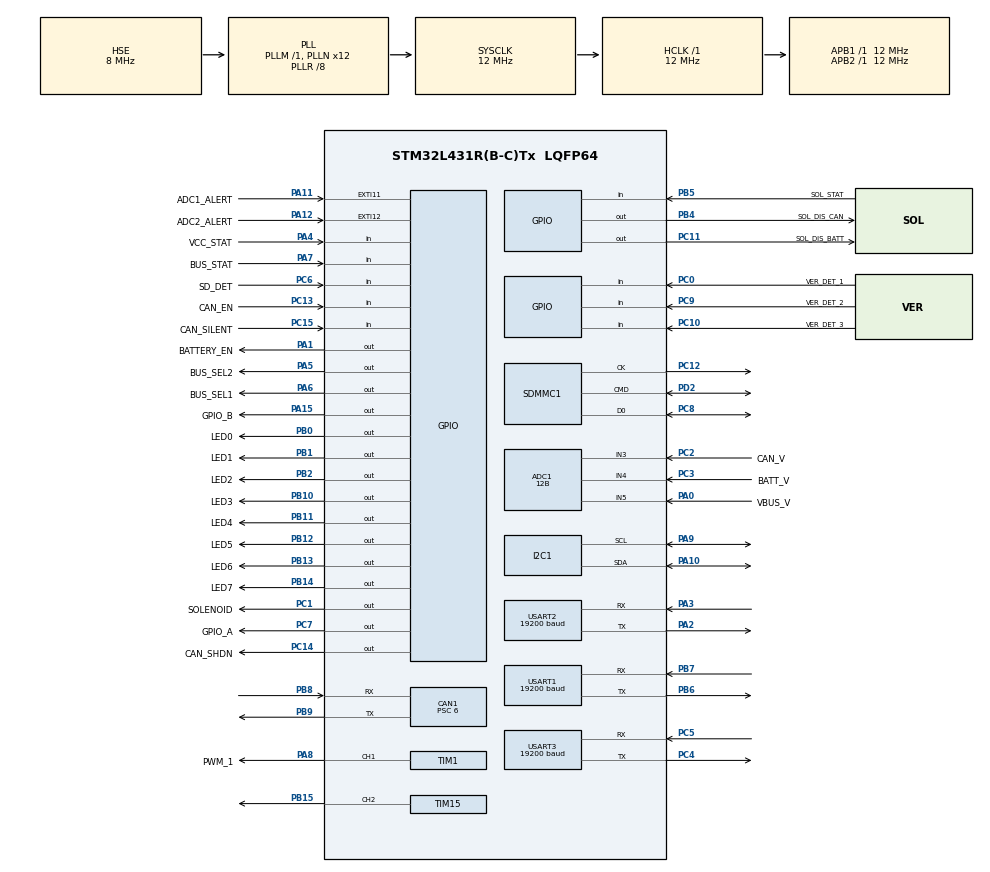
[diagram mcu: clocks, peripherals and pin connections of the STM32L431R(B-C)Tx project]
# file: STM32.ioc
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ADC1.Channel-0\#ChannelRegularConversion=ADC_CHANNEL_VREFINT
ADC1.NbrOfConversion=1
ADC1.NbrOfConversionFlag=1
ADC1.OffsetNumber-0\#ChannelRegularConversion=ADC_OFFSET_NONE
ADC1.Rank-0\#ChannelRegularConversion=1
ADC1.Resolution=ADC_RESOLUTION_12B
ADC1.SamplingTime-0\#ChannelRegularConversion=ADC_SAMPLETIME_2CYCLES_5
ADC1.master=1
CAN1.ABOM=ENABLE
CAN1.AWUM=ENABLE
CAN1.BS1=CAN_BS1_13TQ
CAN1.BS2=CAN_BS2_2TQ
CAN1.CalculateBaudRate=125000
CAN1.CalculateTimeBit=8000
CAN1.CalculateTimeQuantum=500.0
CAN1.NART=ENABLE
CAN1.Prescaler=6
CAN1.SJW=CAN_SJW_4TQ
Dma.Request0=SDMMC1
Dma.SDMMC1.0.Direction=DMA_PERIPH_TO_MEMORY
Dma.SDMMC1.0.Instance=DMA2_Channel4
Dma.SDMMC1.0.MemDataAlignment=DMA_MDATAALIGN_WORD
Dma.SDMMC1.0.MemInc=DMA_MINC_ENABLE
Dma.SDMMC1.0.Mode=DMA_NORMAL
Dma.SDMMC1.0.PeriphDataAlignment=DMA_PDATAALIGN_WORD
Dma.SDMMC1.0.PeriphInc=DMA_PINC_DISABLE
Dma.SDMMC1.0.Priority=DMA_PRIORITY_VERY_HIGH
FATFS.BSP.number=1
FATFS0.BSP.STBoard=false
FATFS0.BSP.api=Unknown
FATFS0.BSP.instance=PC6
FATFS0.BSP.ip=GPIO
FATFS0.BSP.mode=Input
FATFS0.BSP.name=Detect_SDIO
FATFS0.BSP.solution=PC6
FREERTOS.HEAP_NUMBER=5
FREERTOS.INCLUDE_pcTaskGetTaskName=1
FREERTOS.INCLUDE_vTaskCleanUpResources=1
FREERTOS.Tasks01=watchdogTask,8,128,WatchdogTask,Default,NULL,Static,watchdogTaskBuffer,watchdogTaskControlBlock;sDInitTask,48,256,SDInitTask,Default,NULL,Static,SDInitTaskBuffer,SDInitTaskControlBlock
FREERTOS.configCHECK_FOR_STACK_OVERFLOW=2
FREERTOS.configENABLE_BACKWARD_COMPATIBILITY=0
FREERTOS.configENABLE_FPU=1
FREERTOS.configGENERATE_RUN_TIME_STATS=1
FREERTOS.configRECORD_STACK_HIGH_ADDRESS=1
FREERTOS.configTICK_RATE_HZ=100
FREERTOS.configTOTAL_HEAP_SIZE=1024
FREERTOS.configUSE_IDLE_HOOK=1
FREERTOS.configUSE_MALLOC_FAILED_HOOK=1
FREERTOS.configUSE_NEWLIB_REENTRANT=1
FREERTOS.configUSE_PREEMPTION=0
FREERTOS.configUSE_STATS_FORMATTING_FUNCTIONS=1
FREERTOS.configUSE_TICKLESS_IDLE=1
FREERTOS.configUSE_TRACE_FACILITY=1
I2C1.SMBusGeneralCallMode=SMBUS_GENERALCALL_ENABLE
I2C1.SMBusPacketErrorCheckMode=SMBUS_PEC_ENABLE
I2C1.Timeout=0x000080C3
I2C1.Timing=0x00402D41
IWDG.Prescaler=IWDG_PRESCALER_32
Mcu.Family=STM32L4
Mcu.Name=STM32L431R(B-C)Tx
Mcu.Package=LQFP64
NVIC.CAN1_RX0_IRQn=true\:5\:0\:true\:true\:true\:4\:true\:true\:true\:true
NVIC.CAN1_RX1_IRQn=true\:5\:0\:true\:true\:true\:5\:true\:true\:true\:true
NVIC.DMA2_Channel4_IRQn=true\:5\:0\:false\:false\:true\:true\:false\:true\:true
NVIC.EXTI15_10_IRQn=true\:5\:0\:false\:true\:true\:3\:true\:true\:true\:true
NVIC.I2C1_ER_IRQn=true\:5\:0\:false\:false\:true\:true\:true\:true\:true
NVIC.I2C1_EV_IRQn=true\:5\:0\:false\:true\:true\:2\:true\:true\:true\:true
NVIC.PVD_PVM_IRQn=true\:5\:0\:false\:false\:true\:true\:true\:true\:true
NVIC.PriorityGroup=NVIC_PRIORITYGROUP_4
NVIC.SDMMC1_IRQn=true\:5\:0\:false\:true\:true\:1\:true\:true\:true\:true
NVIC.TIM6_DAC_IRQn=true\:15\:0\:false\:false\:true\:false\:false\:true\:true
NVIC.TIM7_IRQn=true\:5\:0\:true\:false\:true\:true\:true\:true\:true
NVIC.TimeBase=TIM6_DAC_IRQn
NVIC.TimeBaseIP=TIM6
NVIC.USART1_IRQn=true\:5\:0\:false\:true\:true\:8\:true\:true\:true\:true
NVIC.USART2_IRQn=true\:5\:0\:true\:true\:true\:6\:true\:true\:true\:true
NVIC.USART3_IRQn=true\:5\:0\:true\:true\:true\:7\:true\:true\:true\:true
PA0.GPIO_Label=VBUS_V
PA0.Signal=ADCx_IN5
PA1.GPIO_Label=BATTERY_EN
PA1.Signal=GPIO_Output
PA10.Mode=I2C
PA10.Signal=I2C1_SDA
PA11.GPIO_Label=ADC1_ALERT
PA11.GPIO_ModeDefaultEXTI=GPIO_MODE_IT_FALLING
PA11.GPIO_PuPd=GPIO_PULLUP
PA11.Signal=GPXTI11
PA12.GPIO_Label=ADC2_ALERT
PA12.GPIO_ModeDefaultEXTI=GPIO_MODE_IT_FALLING
PA12.GPIO_PuPd=GPIO_PULLUP
PA12.Signal=GPXTI12
PA13\ (JTMS-SWDIO).Mode=Trace_Asynchronous_SW
PA13\ (JTMS-SWDIO).Signal=SYS_JTMS-SWDIO
PA14\ (JTCK-SWCLK).Mode=Trace_Asynchronous_SW
PA14\ (JTCK-SWCLK).Signal=SYS_JTCK-SWCLK
PA15\ (JTDI).GPIO_Label=GPIO_B
PA15\ (JTDI).Signal=GPIO_Output
PA2.Mode=Asynchronous
PA2.Signal=USART2_TX
PA3.Mode=Asynchronous
PA3.Signal=USART2_RX
PA4.GPIO_Label=VCC_STAT
PA4.GPIO_PuPd=GPIO_PULLUP
PA4.Signal=GPIO_Input
PA5.GPIO_Label=BUS_SEL2
PA5.Signal=GPIO_Output
PA6.GPIO_Label=BUS_SEL1
PA6.Signal=GPIO_Output
PA7.GPIO_Label=BUS_STAT
PA7.GPIO_PuPd=GPIO_PULLUP
PA7.Signal=GPIO_Input
PA8.GPIO_Label=PWM_1
PA8.Signal=S_TIM1_CH1
PA9.Mode=I2C
PA9.Signal=I2C1_SCL
PB0.GPIO_Label=LED0
PB0.PinState=GPIO_PIN_RESET
PB0.Signal=GPIO_Output
PB1.GPIO_Label=LED1
PB1.PinState=GPIO_PIN_RESET
PB1.Signal=GPIO_Output
PB10.GPIO_Label=LED3
PB10.PinState=GPIO_PIN_RESET
PB10.Signal=GPIO_Output
PB11.GPIO_Label=LED4
PB11.PinState=GPIO_PIN_RESET
PB11.Signal=GPIO_Output
PB12.GPIO_Label=LED5
PB12.PinState=GPIO_PIN_RESET
PB12.Signal=GPIO_Output
PB13.GPIO_Label=LED6
PB13.PinState=GPIO_PIN_RESET
PB13.Signal=GPIO_Output
PB14.GPIO_Label=LED7
PB14.PinState=GPIO_PIN_RESET
PB14.Signal=GPIO_Output
PB15.Signal=S_TIM15_CH2
PB2.GPIO_Label=LED2
PB2.PinState=GPIO_PIN_RESET
PB2.Signal=GPIO_Output
PB3\ (JTDO-TRACESWO).Mode=Trace_Asynchronous_SW
PB3\ (JTDO-TRACESWO).Signal=SYS_JTDO-SWO
PB4\ (NJTRST).GPIO_Label=SOL_DIS_CAN
PB4\ (NJTRST).Signal=GPIO_Output
PB5.GPIO_Label=SOL_STAT
PB5.GPIO_PuPd=GPIO_PULLUP
PB5.Signal=GPIO_Input
PB6.Mode=Asynchronous
PB6.Signal=USART1_TX
PB7.Mode=Asynchronous
PB7.Signal=USART1_RX
PB8.Mode=CAN_Activate
PB8.Signal=CAN1_RX
PB9.Mode=CAN_Activate
PB9.Signal=CAN1_TX
PC0.GPIO_Label=VER_DET_1
PC0.Signal=GPIO_Input
PC1.GPIO_Label=SOLENOID
PC1.Signal=GPIO_Output
PC10.GPIO_Label=VER_DET_3
PC10.Signal=GPIO_Input
PC11.GPIO_Label=SOL_DIS_BATT
PC11.Signal=GPIO_Output
PC12.GPIO_PuPd=GPIO_NOPULL
PC12.Mode=SD_1_bit
PC12.Signal=SDMMC1_CK
PC13.GPIO_Label=CAN_EN
PC13.GPIO_PuPd=GPIO_NOPULL
PC13.Signal=GPIO_Input
PC14-OSC32_IN\ (PC14).GPIO_Label=CAN_SHDN
PC14-OSC32_IN\ (PC14).Signal=GPIO_Output
PC15-OSC32_OUT\ (PC15).GPIO_Label=CAN_SILENT
PC15-OSC32_OUT\ (PC15).Signal=GPIO_Input
PC2.GPIO_Label=CAN_V
PC2.Signal=ADCx_IN3
PC3.GPIO_Label=BATT_V
PC3.Signal=ADCx_IN4
PC4.Mode=Asynchronous
PC4.Signal=USART3_TX
PC5.Mode=Asynchronous
PC5.Signal=USART3_RX
PC6.GPIO_Label=SD_DET
PC6.GPIO_PuPd=GPIO_PULLDOWN
PC6.Signal=GPIO_Input
PC7.GPIO_Label=GPIO_A
PC7.Signal=GPIO_Output
PC8.GPIO_PuPd=GPIO_PULLUP
PC8.Mode=SD_1_bit
PC8.Signal=SDMMC1_D0
PC9.GPIO_Label=VER_DET_2
PC9.Signal=GPIO_Input
PD2.GPIO_PuPd=GPIO_PULLUP
PD2.Mode=SD_1_bit
PD2.Signal=SDMMC1_CMD
PH0-OSC_IN\ (PH0).Mode=HSE-External-Oscillator
PH0-OSC_IN\ (PH0).Signal=RCC_OSC_IN
PH1-OSC_OUT\ (PH1).Mode=HSE-External-Oscillator
PH1-OSC_OUT\ (PH1).Signal=RCC_OSC_OUT
ProjectManager.HeapSize=0x400
ProjectManager.StackSize=0x800
ProjectManager.TargetToolchain=Makefile
RCC.ADCCLockSelection=RCC_ADCCLKSOURCE_SYSCLK
RCC.ADCFreq_Value=12000000
RCC.AHBFreq_Value=12000000
RCC.APB1Freq_Value=12000000
RCC.APB1TimFreq_Value=12000000
RCC.APB2Freq_Value=12000000
RCC.APB2TimFreq_Value=12000000
RCC.CK48CLockSelection=RCC_USBCLKSOURCE_PLL
RCC.CortexFreq_Value=12000000
RCC.EnbaleCSS=true
RCC.HCLKFreq_Value=12000000
RCC.HSE_VALUE=8000000
RCC.HSI48_VALUE=48000000
RCC.HSI_VALUE=16000000
RCC.LSE_VALUE=32768
RCC.MSIClockRange=RCC_MSIRANGE_7
RCC.MSI_VALUE=8000000
RCC.PLLN=12
RCC.PLLQ=RCC_PLLQ_DIV4
RCC.PLLR=RCC_PLLR_DIV8
RCC.PLLSAI1Q=RCC_PLLQ_DIV4
RCC.PLLSourceVirtual=RCC_PLLSOURCE_HSE
RCC.SYSCLKFreq_VALUE=12000000
RCC.SYSCLKSource=RCC_SYSCLKSOURCE_PLLCLK
RCC.VCOOutputFreq_Value=96000000
SDMMC1.ClockBypass=SDMMC_CLOCK_BYPASS_DISABLE
SDMMC1.ClockDiv=0
SDMMC1.ClockEdge=SDMMC_CLOCK_EDGE_RISING
SDMMC1.ClockPowerSave=SDMMC_CLOCK_POWER_SAVE_DISABLE
SDMMC1.HardwareFlowControl=SDMMC_HARDWARE_FLOW_CONTROL_ENABLE
SH.ADCx_IN3.0=ADC1_IN3,IN3-Single-Ended
SH.ADCx_IN4.0=ADC1_IN4,IN4-Single-Ended
SH.ADCx_IN5.0=ADC1_IN5,IN5-Single-Ended
SH.S_TIM15_CH2.0=TIM15_CH2,PWM Generation2 CH2
SH.S_TIM1_CH1.0=TIM1_CH1,PWM Generation1 CH1
SYS.PVDLevel=PWR_PVDLEVEL_5
TIM1.Channel-PWM\ Generation1\ CH1=TIM_CHANNEL_1
TIM1.Period=100-1
TIM1.Prescaler=16-1
TIM15.Channel-PWM\ Generation2\ CH2=TIM_CHANNEL_2
TIM15.Period=100-1
TIM15.Prescaler=16-1
TIM7.Period=1600
USART1.BaudRate=19200
USART1.DMADisableonRxErrorParam=ADVFEATURE_DMA_ENABLEONRXERROR
USART1.Mode=MODE_TX_RX
USART1.OverrunDisableParam=ADVFEATURE_OVERRUN_ENABLE
USART1.SwapParam=ADVFEATURE_SWAP_DISABLE
USART1.VirtualMode-Asynchronous=VM_ASYNC
USART2.BaudRate=19200
USART2.DMADisableonRxErrorParam=ADVFEATURE_DMA_ENABLEONRXERROR
USART2.OverrunDisableParam=ADVFEATURE_OVERRUN_ENABLE
USART2.SwapParam=ADVFEATURE_SWAP_ENABLE
USART2.VirtualMode-Asynchronous=VM_ASYNC
USART3.BaudRate=19200
USART3.SwapParam=ADVFEATURE_SWAP_ENABLE
USART3.VirtualMode-Asynchronous=VM_ASYNC
VP_ADC1_Vbat_Input.Mode=IN-Vbat
VP_ADC1_Vref_Input.Mode=IN-Vrefint
VP_CRC_VS_CRC.Mode=CRC_Activate
VP_FATFS_VS_SDIO.Mode=SDIO
VP_FREERTOS_VS_CMSIS_V2.Mode=CMSIS_V2
VP_IWDG_VS_IWDG.Mode=IWDG_Activate
VP_SYS_VS_LPOM.Mode=PowerOptimisation
VP_SYS_VS_tim6.Mode=TIM6
VP_SYS_V_PVD_IN.Mode=Mode_PVD_Int
VP_TIM15_VS_ClockSourceINT.Mode=Internal
VP_TIM1_VS_ClockSourceINT.Mode=Internal
VP_TIM7_VS_ClockSourceINT.Mode=Enable_Timer
board=custom

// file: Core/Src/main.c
/* USER CODE BEGIN Header */
/**
 ******************************************************************************
 * @file           : main.c
 * @brief          : Main program body
 ******************************************************************************
 * @attention
 *
 * Copyright (c) 2023 STMicroelectronics.
 * All rights reserved.
 *
 * This software is licensed under terms that can be found in the LICENSE file
 * in the root directory of this software component.
 * If no LICENSE file comes with this software, it is provided AS-IS.
 *
 ******************************************************************************
 */
/* USER CODE END Header */
#include "main.h"
#include "cmsis_os.h"
#include "fatfs.h"

/* USER CODE BEGIN Includes */
#include <string.h>
#include "eeprom_emul.h"
#include "Sensors/OxygenCell.h"
#include "Sensors/AnalogOxygen.h"
#include "Hardware/pwr_management.h"
#include "Hardware/solenoid.h"
#include "Hardware/ext_adc.h"
#include "Hardware/printer.h"
#include "Hardware/flash.h"
#include "DiveCAN/DiveCAN.h"
#include "DiveCAN/PPO2Transmitter.h"
#include "Hardware/log.h"
#include "configuration.h"
#include "PPO2Control/PPO2Control.h"
#include "Hardware/hw_version.h"
/* USER CODE END Includes */

typedef StaticTask_t osStaticThreadDef_t;

/* USER CODE BEGIN PD */
const uint8_t IRQ_PRIORITY_DEFAULT = 5;
/* USER CODE END PD */

ADC_HandleTypeDef hadc1;

CAN_HandleTypeDef hcan1;

CRC_HandleTypeDef hcrc;

I2C_HandleTypeDef hi2c1;

IWDG_HandleTypeDef hiwdg;

SD_HandleTypeDef hsd1;
DMA_HandleTypeDef hdma_sdmmc1;

TIM_HandleTypeDef htim1;
TIM_HandleTypeDef htim7;
TIM_HandleTypeDef htim15;

UART_HandleTypeDef huart1;
UART_HandleTypeDef huart2;
UART_HandleTypeDef huart3;

/* Definitions for watchdogTask */
osThreadId_t watchdogTaskHandle;
uint32_t watchdogTaskBuffer[128];
osStaticThreadDef_t watchdogTaskControlBlock;
const osThreadAttr_t watchdogTask_attributes = {
    .name = "watchdogTask",
    .cb_mem = &watchdogTaskControlBlock,
    .cb_size = sizeof(watchdogTaskControlBlock),
    .stack_mem = &watchdogTaskBuffer[0],
    .stack_size = sizeof(watchdogTaskBuffer),
    .priority = (osPriority_t)osPriorityLow,
};
/* Definitions for sDInitTask */
osThreadId_t sDInitTaskHandle;
uint32_t SDInitTaskBuffer[256];
osStaticThreadDef_t SDInitTaskControlBlock;
const osThreadAttr_t sDInitTask_attributes = {
    .name = "sDInitTask",
    .cb_mem = &SDInitTaskControlBlock,
    .cb_size = sizeof(SDInitTaskControlBlock),
    .stack_mem = &SDInitTaskBuffer[0],
    .stack_size = sizeof(SDInitTaskBuffer),
    .priority = (osPriority_t)osPriorityRealtime,
};

void SystemClock_Config(void);
static void MX_GPIO_Init(void);
static void MX_DMA_Init(void);
static void MX_ADC1_Init(void);
static void MX_CAN1_Init(void);
static void MX_I2C1_Init(void);
static void MX_USART1_UART_Init(void);
static void MX_USART2_UART_Init(void);
static void MX_USART3_UART_Init(void);
static void MX_SDMMC1_SD_Init(void);
static void MX_CRC_Init(void);
static void MX_TIM7_Init(void);
static void MX_IWDG_Init(void);
static void MX_TIM1_Init(void);
static void MX_TIM15_Init(void);
void WatchdogTask(void *argument);
void SDInitTask(void *argument);

static void MX_NVIC_Init(void);
/* USER CODE BEGIN PFP */

/** @brief  Possible STM32 system reset causes
 */
typedef enum
{
  RESET_CAUSE_UNKNOWN = 0,
  RESET_CAUSE_LOW_POWER_RESET,
  RESET_CAUSE_WNDW_WTCHDOG_RESET,
  RESET_CAUSE_I_WTCHDOG_RESET,
  RESET_CAUSE_SOFTWARE_RESET,
  RESET_CAUSE_FIREWALL_RESET,
  RESET_CAUSE_EXT_PIN_RESET,
  RESET_CAUSE_BROWNOUT_RESET,
} reset_cause_t;

/** @brief      Obtain the STM32 system reset cause
 ** @param      None
 ** @return     The system reset cause
 */
reset_cause_t reset_cause_get(void)
{
  reset_cause_t reset_cause = RESET_CAUSE_UNKNOWN;

  if (__HAL_RCC_GET_FLAG(RCC_FLAG_LPWRRST) != 0)
  {
    reset_cause = RESET_CAUSE_LOW_POWER_RESET;
  }
  else if (__HAL_RCC_GET_FLAG(RCC_FLAG_WWDGRST) != 0)
  {
    reset_cause = RESET_CAUSE_WNDW_WTCHDOG_RESET;
  }
  else if (__HAL_RCC_GET_FLAG(RCC_FLAG_IWDGRST) != 0)
  {
    reset_cause = RESET_CAUSE_I_WTCHDOG_RESET;
  }
  else if (__HAL_RCC_GET_FLAG(RCC_FLAG_SFTRST) != 0)
  {
    /* This reset is induced by calling the ARM CMSIS */
    /* `NVIC_SystemReset()` function! */
    reset_cause = RESET_CAUSE_SOFTWARE_RESET;
  }
  else if (__HAL_RCC_GET_FLAG(RCC_FLAG_FWRST) != 0)
  {
    reset_cause = RESET_CAUSE_FIREWALL_RESET;
  }
  else if (__HAL_RCC_GET_FLAG(RCC_FLAG_PINRST) != 0)
  {
    reset_cause = RESET_CAUSE_EXT_PIN_RESET;
  }
  /* Needs to come *after* checking the `RCC_FLAG_PORRST` flag in order to */
  /* ensure first that the reset cause is NOT a POR/PDR reset. See note */
  /* below. */
  else if (__HAL_RCC_GET_FLAG(RCC_FLAG_BORRST) != 0)
  {
    reset_cause = RESET_CAUSE_BROWNOUT_RESET;
  }
  else
  {
    reset_cause = RESET_CAUSE_UNKNOWN;
  }

  /* Clear all the reset flags or else they will remain set during future */
  /* resets until system power is fully removed. */
  (void)__HAL_RCC_CLEAR_RESET_FLAGS();

  return reset_cause;
}

/* Note: any of the STM32 Hardware Abstraction Layer (HAL) Reset and Clock
 * Controller (RCC) header files, such as
 * "STM32Cube_FW_F7_V1.12.0/Drivers/STM32F7xx_HAL_Driver/Inc/stm32f7xx_hal_rcc.h",
 * "STM32Cube_FW_F2_V1.7.0/Drivers/STM32F2xx_HAL_Driver/Inc/stm32f2xx_hal_rcc.h",
 * etc., indicate that the brownout flag, `RCC_FLAG_BORRST`, will be set in
 * the event of a "POR/PDR or BOR reset". This means that a Power-On Reset
 * (POR), Power-Down Reset (PDR), OR Brownout Reset (BOR) will trip this flag.
 * See the doxygen just above their definition for the
 * `__HAL_RCC_GET_FLAG()` macro to see this:
 *      "@arg RCC_FLAG_BORRST: POR/PDR or BOR reset." <== indicates the Brownout
 *      Reset flag will *also* be set in the event of a POR/PDR.
 * Therefore, you must check the Brownout Reset flag, `RCC_FLAG_BORRST`, *after*
 * first checking the `RCC_FLAG_PORRST` flag in order to ensure first that the
 * reset cause is NOT a POR/PDR reset. */

/** @brief      Obtain the system reset cause as an ASCII-printable name string
 *             from a reset cause type
 *  @param[in]  reset_cause     The previously-obtained system reset cause
 * @return     A null-terminated ASCII name string describing the system
 *             reset cause
 */
const char *reset_cause_get_name(reset_cause_t reset_cause)
{
  const char *reset_cause_name = NULL;

  switch (reset_cause)
  {
  case RESET_CAUSE_UNKNOWN:
    reset_cause_name = "UNKNOWN";
    break;
  case RESET_CAUSE_LOW_POWER_RESET:
    reset_cause_name = "LOW_POWER_RESET";
    break;
  case RESET_CAUSE_WNDW_WTCHDOG_RESET:
    reset_cause_name = "WINDOW_WATCHDOG_RESET";
    break;
  case RESET_CAUSE_I_WTCHDOG_RESET:
    reset_cause_name = "INDEPENDENT_WATCHDOG_RESET";
    break;
  case RESET_CAUSE_SOFTWARE_RESET:
    reset_cause_name = "SOFTWARE_RESET";
    break;
  case RESET_CAUSE_FIREWALL_RESET:
    reset_cause_name = "FIREWALL_RESET";
    break;
  case RESET_CAUSE_EXT_PIN_RESET:
    reset_cause_name = "EXTERNAL_RESET_PIN_RESET";
    break;
  case RESET_CAUSE_BROWNOUT_RESET:
    reset_cause_name = "BROWNOUT_RESET (BOR)";
    break;
  default:
    reset_cause_name = "UNDEFINED";
  }

  return reset_cause_name;
}

uint32_t getLastFatalError(void)
{
  FatalError_t err = NONE_FERR;
  if (!GetFatalError(&err))
  {
    NON_FATAL_ERROR(EEPROM_ERR);
  }
  return (uint32_t)err;
}

/* USER CODE END PFP */

/* USER CODE BEGIN 0 */

/**
 * @brief Toggle pin if enabled is GPIO_PIN_SET
 * @param enabled Whether this pin should be toggled
 * @param GPIOx Port to toggle
 * @param GPIO_Pin Pin on port to toggle
 */
inline static void toggle_blink_pin(GPIO_PinState enabled, GPIO_TypeDef *GPIOx, uint16_t GPIO_Pin)
{
  if (GPIO_PIN_SET == enabled)
  {
    HAL_GPIO_WritePin(GPIOx, GPIO_Pin, !(bool)HAL_GPIO_ReadPin(GPIOx, GPIO_Pin));
  }
}

/**
 * @brief Blink the current boot sequence LEDs, determined from the output state so can be triggered in any context
 */

[[noreturn]] static void boot_fail_blink(void)
{

  GPIO_PinState LED0_GPIO_State = HAL_GPIO_ReadPin(LED0_GPIO_Port, LED0_Pin);
  GPIO_PinState LED1_GPIO_State = HAL_GPIO_ReadPin(LED1_GPIO_Port, LED1_Pin);
  GPIO_PinState LED2_GPIO_State = HAL_GPIO_ReadPin(LED2_GPIO_Port, LED2_Pin);
  GPIO_PinState LED3_GPIO_State = HAL_GPIO_ReadPin(LED3_GPIO_Port, LED3_Pin);
  GPIO_PinState LED4_GPIO_State = HAL_GPIO_ReadPin(LED4_GPIO_Port, LED4_Pin);
  GPIO_PinState LED5_GPIO_State = HAL_GPIO_ReadPin(LED5_GPIO_Port, LED5_Pin);
  GPIO_PinState LED6_GPIO_State = HAL_GPIO_ReadPin(LED6_GPIO_Port, LED6_Pin);
  GPIO_PinState LED7_GPIO_State = HAL_GPIO_ReadPin(LED7_GPIO_Port, LED7_Pin);

  /* We DO NOT reset the watchdog in this loop so that we can attempt to blink for a while before we get reset*/
  while (true)
  {
    toggle_blink_pin(LED0_GPIO_State, LED0_GPIO_Port, LED0_Pin);
    toggle_blink_pin(LED1_GPIO_State, LED1_GPIO_Port, LED1_Pin);
    toggle_blink_pin(LED2_GPIO_State, LED2_GPIO_Port, LED2_Pin);
    toggle_blink_pin(LED3_GPIO_State, LED3_GPIO_Port, LED3_Pin);
    toggle_blink_pin(LED4_GPIO_State, LED4_GPIO_Port, LED4_Pin);
    toggle_blink_pin(LED5_GPIO_State, LED5_GPIO_Port, LED5_Pin);
    toggle_blink_pin(LED6_GPIO_State, LED6_GPIO_Port, LED6_Pin);
    toggle_blink_pin(LED7_GPIO_State, LED7_GPIO_Port, LED7_Pin);
  }
}

/* USER CODE END 0 */

int main(void)
{

  /* USER CODE BEGIN 1 */
  const reset_cause_t reset_cause = reset_cause_get();
  /* USER CODE END 1 */

  /* MCU Configuration--------------------------------------------------------*/

  /* Reset of all peripherals, Initializes the Flash interface and the Systick. */
  HAL_Init();

  /* Configure the system clock */
  SystemClock_Config();

  /* Initialize all configured peripherals */
  MX_GPIO_Init();
  MX_DMA_Init();
  MX_ADC1_Init();
  MX_CAN1_Init();
  MX_I2C1_Init();
  MX_USART1_UART_Init();
  MX_USART2_UART_Init();
  MX_USART3_UART_Init();
  MX_SDMMC1_SD_Init();
  MX_CRC_Init();
  MX_TIM7_Init();
  MX_IWDG_Init();
  MX_TIM1_Init();
  MX_TIM15_Init();
  MX_FATFS_Init();

  /* Initialize interrupts */
  MX_NVIC_Init();
  /* USER CODE BEGIN 2 */
  HAL_GPIO_WritePin(LED0_GPIO_Port, LED0_Pin, GPIO_PIN_SET);
  HAL_GPIO_WritePin(LED1_GPIO_Port, LED1_Pin, GPIO_PIN_SET);
  HAL_GPIO_WritePin(LED2_GPIO_Port, LED2_Pin, GPIO_PIN_SET);
  HAL_GPIO_WritePin(LED3_GPIO_Port, LED3_Pin, GPIO_PIN_SET);
  HAL_GPIO_WritePin(LED4_GPIO_Port, LED4_Pin, GPIO_PIN_SET);
  HAL_GPIO_WritePin(LED5_GPIO_Port, LED5_Pin, GPIO_PIN_SET);
  HAL_GPIO_WritePin(LED6_GPIO_Port, LED6_Pin, GPIO_PIN_SET);
  HAL_GPIO_WritePin(LED7_GPIO_Port, LED7_Pin, GPIO_PIN_SET);

  /* Detect our hardware version */
  const HW_Version_t HARDWARE_VERSION = get_hardware_version();
  if (HW_INVALID == HARDWARE_VERSION)
  {
    boot_fail_blink();
  }

  /* Ensure solenoid is fully off */
  setSolenoidOff();
  HAL_GPIO_WritePin(LED7_GPIO_Port, LED7_Pin, GPIO_PIN_RESET);
  (void)HAL_IWDG_Refresh(&hiwdg);

  InitLog();
  HAL_GPIO_WritePin(LED6_GPIO_Port, LED6_Pin, GPIO_PIN_RESET);
  (void)HAL_IWDG_Refresh(&hiwdg);

  /* Set up our eeprom emulation and assert our option bytes */
  initFlash();

  /* Load Config */
  const Configuration_t deviceConfig = loadConfiguration(HARDWARE_VERSION);
  HAL_GPIO_WritePin(LED5_GPIO_Port, LED5_Pin, GPIO_PIN_RESET);
  (void)HAL_IWDG_Refresh(&hiwdg);

  InitPrinter((deviceConfig.enableUartPrinting != 0) && (deviceConfig.extendedMessages != 0));
  serial_printf("Booting, Last Reset Reason (%s)\r\n", reset_cause_get_name(reset_cause));
  serial_printf("Last fatal error: %d\r\n", getLastFatalError());
  serial_printf("Configuration: 0x%lx\r\n", getConfigBytes(&deviceConfig));

  /* Set configuration in the binary state vector accumulator for UDS log push */
  Log_SetConfig(getConfigBytes(&deviceConfig));

  /* Set our power bus */
  SetVBusMode(deviceConfig.powerMode);
  HAL_GPIO_WritePin(LED4_GPIO_Port, LED4_Pin, GPIO_PIN_RESET);
  (void)HAL_IWDG_Refresh(&hiwdg);

  /* Kick off our threads */
  InitADCs();

  QueueHandle_t cells[3] = {0};
  cells[CELL_1] = CreateCell(CELL_1, deviceConfig.cell1);
  cells[CELL_2] = CreateCell(CELL_2, deviceConfig.cell2);
  cells[CELL_3] = CreateCell(CELL_3, deviceConfig.cell3);
  HAL_GPIO_WritePin(LED3_GPIO_Port, LED3_Pin, GPIO_PIN_RESET);
  (void)HAL_IWDG_Refresh(&hiwdg);

  /* Set up our CAN BUS*/
  const char *device_name = "";
  switch (HARDWARE_VERSION)
  {
  case HW_REV_2_2:
    device_name = "REV2.2";
    break;
  case HW_REV_2_3:
    device_name = "REV2.3";
    break;
  case HW_JR:
    device_name = "DC_JR";
    break;
  default:
    device_name = "UNKNOWN";
  }

  const DiveCANDevice_t defaultDeviceSpec = {
      .name = device_name,
      .type = DIVECAN_SOLO,
      .manufacturerID = DIVECAN_MANUFACTURER_SRI,
      .firmwareVersion = FIRMWARE_VERSION,
      .hardwareVersion = HARDWARE_VERSION};

  InitDiveCAN(&defaultDeviceSpec, &deviceConfig);
  InitPPO2TX(&defaultDeviceSpec, cells[CELL_1], cells[CELL_2], cells[CELL_3]);
  HAL_GPIO_WritePin(LED2_GPIO_Port, LED2_Pin, GPIO_PIN_RESET);
  (void)HAL_IWDG_Refresh(&hiwdg);

  InitPPO2ControlLoop(cells[CELL_1], cells[CELL_2], cells[CELL_3], deviceConfig.ppo2DepthCompensation, deviceConfig.extendedMessages, deviceConfig.ppo2controlMode, deviceConfig.powerMode);

  /* USER CODE END 2 */

  /* Init scheduler */
  osKernelInitialize();

  /* Create the thread(s) */
  /* creation of watchdogTask */
  watchdogTaskHandle = osThreadNew(WatchdogTask, NULL, &watchdogTask_attributes);

  /* creation of sDInitTask */
  sDInitTaskHandle = osThreadNew(SDInitTask, NULL, &sDInitTask_attributes);

  /* USER CODE BEGIN RTOS_EVENTS */
  /* add events, ... */

  HAL_GPIO_WritePin(LED0_GPIO_Port, LED0_Pin, GPIO_PIN_SET);
  HAL_GPIO_WritePin(LED1_GPIO_Port, LED1_Pin, GPIO_PIN_RESET);
  (void)HAL_IWDG_Refresh(&hiwdg);

  /* USER CODE END RTOS_EVENTS */

  /* Start scheduler */
  osKernelStart();

  /* We should never get here as control is now taken by the scheduler */

  /* Infinite loop */
  while (1)
  {

  }
}

void SystemClock_Config(void)
{
  RCC_OscInitTypeDef RCC_OscInitStruct = {0};
  RCC_ClkInitTypeDef RCC_ClkInitStruct = {0};

  /** Configure the main internal regulator output voltage
   */
  if (HAL_PWREx_ControlVoltageScaling(PWR_REGULATOR_VOLTAGE_SCALE1) != HAL_OK)
  {
    Error_Handler();
  }

  /** Initializes the RCC Oscillators according to the specified parameters
   * in the RCC_OscInitTypeDef structure.
   */
  RCC_OscInitStruct.OscillatorType = RCC_OSCILLATORTYPE_LSI | RCC_OSCILLATORTYPE_HSE;
  RCC_OscInitStruct.HSEState = RCC_HSE_ON;
  RCC_OscInitStruct.LSIState = RCC_LSI_ON;
  RCC_OscInitStruct.PLL.PLLState = RCC_PLL_ON;
  RCC_OscInitStruct.PLL.PLLSource = RCC_PLLSOURCE_HSE;
  RCC_OscInitStruct.PLL.PLLM = 1;
  RCC_OscInitStruct.PLL.PLLN = 12;
  RCC_OscInitStruct.PLL.PLLP = RCC_PLLP_DIV7;
  RCC_OscInitStruct.PLL.PLLQ = RCC_PLLQ_DIV4;
  RCC_OscInitStruct.PLL.PLLR = RCC_PLLR_DIV8;
  if (HAL_RCC_OscConfig(&RCC_OscInitStruct) != HAL_OK)
  {
    Error_Handler();
  }

  /** Initializes the CPU, AHB and APB buses clocks
   */
  RCC_ClkInitStruct.ClockType = RCC_CLOCKTYPE_HCLK | RCC_CLOCKTYPE_SYSCLK | RCC_CLOCKTYPE_PCLK1 | RCC_CLOCKTYPE_PCLK2;
  RCC_ClkInitStruct.SYSCLKSource = RCC_SYSCLKSOURCE_PLLCLK;
  RCC_ClkInitStruct.AHBCLKDivider = RCC_SYSCLK_DIV1;
  RCC_ClkInitStruct.APB1CLKDivider = RCC_HCLK_DIV1;
  RCC_ClkInitStruct.APB2CLKDivider = RCC_HCLK_DIV1;

  if (HAL_RCC_ClockConfig(&RCC_ClkInitStruct, FLASH_LATENCY_0) != HAL_OK)
  {
    Error_Handler();
  }

  /** Enables the Clock Security System
   */
  HAL_RCC_EnableCSS();
}

/**
 * @brief NVIC Configuration.
 * @retval None
 */
static void MX_NVIC_Init(void)
{
  /* SDMMC1_IRQn interrupt configuration */
  HAL_NVIC_SetPriority(SDMMC1_IRQn, 5, 0);
  HAL_NVIC_EnableIRQ(SDMMC1_IRQn);
  /* I2C1_EV_IRQn interrupt configuration */
  HAL_NVIC_SetPriority(I2C1_EV_IRQn, 5, 0);
  HAL_NVIC_EnableIRQ(I2C1_EV_IRQn);
  /* EXTI15_10_IRQn interrupt configuration */
  HAL_NVIC_SetPriority(EXTI15_10_IRQn, 5, 0);
  HAL_NVIC_EnableIRQ(EXTI15_10_IRQn);
  /* CAN1_RX0_IRQn interrupt configuration */
  HAL_NVIC_SetPriority(CAN1_RX0_IRQn, 5, 0);
  HAL_NVIC_EnableIRQ(CAN1_RX0_IRQn);
  /* CAN1_RX1_IRQn interrupt configuration */
  HAL_NVIC_SetPriority(CAN1_RX1_IRQn, 5, 0);
  HAL_NVIC_EnableIRQ(CAN1_RX1_IRQn);
  /* USART2_IRQn interrupt configuration */
  HAL_NVIC_SetPriority(USART2_IRQn, 5, 0);
  HAL_NVIC_EnableIRQ(USART2_IRQn);
  /* USART3_IRQn interrupt configuration */
  HAL_NVIC_SetPriority(USART3_IRQn, 5, 0);
  HAL_NVIC_EnableIRQ(USART3_IRQn);
  /* USART1_IRQn interrupt configuration */
  HAL_NVIC_SetPriority(USART1_IRQn, 5, 0);
  HAL_NVIC_EnableIRQ(USART1_IRQn);
}

static void MX_ADC1_Init(void)
{

  ADC_ChannelConfTypeDef sConfig = {0};

  /** Common config
   */
  hadc1.Instance = ADC1;
  hadc1.Init.ClockPrescaler = ADC_CLOCK_ASYNC_DIV1;
  hadc1.Init.Resolution = ADC_RESOLUTION_12B;
  hadc1.Init.DataAlign = ADC_DATAALIGN_RIGHT;
  hadc1.Init.ScanConvMode = ADC_SCAN_DISABLE;
  hadc1.Init.EOCSelection = ADC_EOC_SINGLE_CONV;
  hadc1.Init.LowPowerAutoWait = DISABLE;
  hadc1.Init.ContinuousConvMode = DISABLE;
  hadc1.Init.NbrOfConversion = 1;
  hadc1.Init.DiscontinuousConvMode = DISABLE;
  hadc1.Init.ExternalTrigConv = ADC_SOFTWARE_START;
  hadc1.Init.ExternalTrigConvEdge = ADC_EXTERNALTRIGCONVEDGE_NONE;
  hadc1.Init.DMAContinuousRequests = DISABLE;
  hadc1.Init.Overrun = ADC_OVR_DATA_PRESERVED;
  hadc1.Init.OversamplingMode = DISABLE;
  if (HAL_ADC_Init(&hadc1) != HAL_OK)
  {
    Error_Handler();
  }

  /** Configure Regular Channel
   */
  sConfig.Channel = ADC_CHANNEL_VREFINT;
  sConfig.Rank = ADC_REGULAR_RANK_1;
  sConfig.SamplingTime = ADC_SAMPLETIME_2CYCLES_5;
  sConfig.SingleDiff = ADC_SINGLE_ENDED;
  sConfig.OffsetNumber = ADC_OFFSET_NONE;
  sConfig.Offset = 0;
  if (HAL_ADC_ConfigChannel(&hadc1, &sConfig) != HAL_OK)
  {
    Error_Handler();
  }
  /* USER CODE BEGIN ADC1_Init 2 */
  HAL_StatusTypeDef status = HAL_ADC_Stop(&hadc1);
  if (HAL_OK != status)
  {
    NON_FATAL_ERROR_DETAIL(INT_ADC_ERR, status);
  }
  status = HAL_ADCEx_Calibration_Start(&hadc1, ADC_SINGLE_ENDED);
  if (HAL_OK != status)
  {
    NON_FATAL_ERROR_DETAIL(INT_ADC_ERR, status);
  }
  status = HAL_ADC_Start(&hadc1);
  if (HAL_OK != status)
  {
    NON_FATAL_ERROR_DETAIL(INT_ADC_ERR, status);
  }
  /* USER CODE END ADC1_Init 2 */
}

static void MX_CAN1_Init(void)
{

  hcan1.Instance = CAN1;
  hcan1.Init.Prescaler = 6;
  hcan1.Init.Mode = CAN_MODE_NORMAL;
  hcan1.Init.SyncJumpWidth = CAN_SJW_4TQ;
  hcan1.Init.TimeSeg1 = CAN_BS1_13TQ;
  hcan1.Init.TimeSeg2 = CAN_BS2_2TQ;
  hcan1.Init.TimeTriggeredMode = DISABLE;
  hcan1.Init.AutoBusOff = ENABLE;
  hcan1.Init.AutoWakeUp = ENABLE;
  hcan1.Init.AutoRetransmission = ENABLE;
  hcan1.Init.ReceiveFifoLocked = DISABLE;
  hcan1.Init.TransmitFifoPriority = DISABLE;
  if (HAL_CAN_Init(&hcan1) != HAL_OK)
  {
    Error_Handler();
  }
  /* USER CODE BEGIN CAN1_Init 2 */
  CAN_FilterTypeDef sFilterConfig = {0};
  sFilterConfig.FilterFIFOAssignment = CAN_FILTER_FIFO0; /* set fifo assignment */
  sFilterConfig.FilterIdHigh = 0;
  sFilterConfig.FilterIdLow = 0;
  sFilterConfig.FilterMaskIdHigh = 0;
  sFilterConfig.FilterMaskIdLow = 0;
  sFilterConfig.FilterScale = CAN_FILTERSCALE_32BIT; /* set filter scale */
  sFilterConfig.FilterActivation = ENABLE;
  (void)HAL_CAN_ConfigFilter(&hcan1, &sFilterConfig);
  (void)HAL_CAN_Start(&hcan1);                                             /* start CAN */
  (void)HAL_CAN_ActivateNotification(&hcan1, CAN_IT_RX_FIFO0_MSG_PENDING); /* enable interrupts */
  /* USER CODE END CAN1_Init 2 */
}

static void MX_CRC_Init(void)
{

  hcrc.Instance = CRC;
  hcrc.Init.DefaultPolynomialUse = DEFAULT_POLYNOMIAL_ENABLE;
  hcrc.Init.DefaultInitValueUse = DEFAULT_INIT_VALUE_ENABLE;
  hcrc.Init.InputDataInversionMode = CRC_INPUTDATA_INVERSION_NONE;
  hcrc.Init.OutputDataInversionMode = CRC_OUTPUTDATA_INVERSION_DISABLE;
  hcrc.InputDataFormat = CRC_INPUTDATA_FORMAT_BYTES;
  if (HAL_CRC_Init(&hcrc) != HAL_OK)
  {
    Error_Handler();
  }
}

static void MX_I2C1_Init(void)
{

  hi2c1.Instance = I2C1;
  hi2c1.Init.Timing = 0x00402D41;
  hi2c1.Init.OwnAddress1 = 0;
  hi2c1.Init.AddressingMode = I2C_ADDRESSINGMODE_7BIT;
  hi2c1.Init.DualAddressMode = I2C_DUALADDRESS_DISABLE;
  hi2c1.Init.OwnAddress2 = 0;
  hi2c1.Init.OwnAddress2Masks = I2C_OA2_NOMASK;
  hi2c1.Init.GeneralCallMode = I2C_GENERALCALL_DISABLE;
  hi2c1.Init.NoStretchMode = I2C_NOSTRETCH_DISABLE;
  if (HAL_I2C_Init(&hi2c1) != HAL_OK)
  {
    Error_Handler();
  }

  /** Configure Analogue filter
   */
  if (HAL_I2CEx_ConfigAnalogFilter(&hi2c1, I2C_ANALOGFILTER_ENABLE) != HAL_OK)
  {
    Error_Handler();
  }

  /** Configure Digital filter
   */
  if (HAL_I2CEx_ConfigDigitalFilter(&hi2c1, 0) != HAL_OK)
  {
    Error_Handler();
  }
}

static void MX_IWDG_Init(void)
{

  hiwdg.Instance = IWDG;
  hiwdg.Init.Prescaler = IWDG_PRESCALER_32;
  hiwdg.Init.Window = 4095;
  hiwdg.Init.Reload = 4095;
  if (HAL_IWDG_Init(&hiwdg) != HAL_OK)
  {
    Error_Handler();
  }
  /* USER CODE BEGIN IWDG_Init 2 */
  /* Freeze the IWDG on debug so we don't need to disable it as a matter of routine */
  __HAL_DBGMCU_FREEZE_IWDG();
  /* USER CODE END IWDG_Init 2 */
}

static void MX_SDMMC1_SD_Init(void)
{

  hsd1.Instance = SDMMC1;
  hsd1.Init.ClockEdge = SDMMC_CLOCK_EDGE_RISING;
  hsd1.Init.ClockBypass = SDMMC_CLOCK_BYPASS_DISABLE;
  hsd1.Init.ClockPowerSave = SDMMC_CLOCK_POWER_SAVE_DISABLE;
  hsd1.Init.BusWide = SDMMC_BUS_WIDE_1B;
  hsd1.Init.HardwareFlowControl = SDMMC_HARDWARE_FLOW_CONTROL_ENABLE;
  hsd1.Init.ClockDiv = 0;
}

static void MX_TIM1_Init(void)
{

  TIM_ClockConfigTypeDef sClockSourceConfig = {0};
  TIM_MasterConfigTypeDef sMasterConfig = {0};
  TIM_OC_InitTypeDef sConfigOC = {0};
  TIM_BreakDeadTimeConfigTypeDef sBreakDeadTimeConfig = {0};

  htim1.Instance = TIM1;
  htim1.Init.Prescaler = 16 - 1;
  htim1.Init.CounterMode = TIM_COUNTERMODE_UP;
  htim1.Init.Period = 100 - 1;
  htim1.Init.ClockDivision = TIM_CLOCKDIVISION_DIV1;
  htim1.Init.RepetitionCounter = 0;
  htim1.Init.AutoReloadPreload = TIM_AUTORELOAD_PRELOAD_DISABLE;
  if (HAL_TIM_Base_Init(&htim1) != HAL_OK)
  {
    Error_Handler();
  }
  sClockSourceConfig.ClockSource = TIM_CLOCKSOURCE_INTERNAL;
  if (HAL_TIM_ConfigClockSource(&htim1, &sClockSourceConfig) != HAL_OK)
  {
    Error_Handler();
  }
  if (HAL_TIM_PWM_Init(&htim1) != HAL_OK)
  {
    Error_Handler();
  }
  sMasterConfig.MasterOutputTrigger = TIM_TRGO_RESET;
  sMasterConfig.MasterOutputTrigger2 = TIM_TRGO2_RESET;
  sMasterConfig.MasterSlaveMode = TIM_MASTERSLAVEMODE_DISABLE;
  if (HAL_TIMEx_MasterConfigSynchronization(&htim1, &sMasterConfig) != HAL_OK)
  {
    Error_Handler();
  }
  sConfigOC.OCMode = TIM_OCMODE_PWM1;
  sConfigOC.Pulse = 0;
  sConfigOC.OCPolarity = TIM_OCPOLARITY_HIGH;
  sConfigOC.OCNPolarity = TIM_OCNPOLARITY_HIGH;
  sConfigOC.OCFastMode = TIM_OCFAST_DISABLE;
  sConfigOC.OCIdleState = TIM_OCIDLESTATE_RESET;
  sConfigOC.OCNIdleState = TIM_OCNIDLESTATE_RESET;
  if (HAL_TIM_PWM_ConfigChannel(&htim1, &sConfigOC, TIM_CHANNEL_1) != HAL_OK)
  {
    Error_Handler();
  }
  sBreakDeadTimeConfig.OffStateRunMode = TIM_OSSR_DISABLE;
  sBreakDeadTimeConfig.OffStateIDLEMode = TIM_OSSI_DISABLE;
  sBreakDeadTimeConfig.LockLevel = TIM_LOCKLEVEL_OFF;
  sBreakDeadTimeConfig.DeadTime = 0;
  sBreakDeadTimeConfig.BreakState = TIM_BREAK_DISABLE;
  sBreakDeadTimeConfig.BreakPolarity = TIM_BREAKPOLARITY_HIGH;
  sBreakDeadTimeConfig.BreakFilter = 0;
  sBreakDeadTimeConfig.Break2State = TIM_BREAK2_DISABLE;
  sBreakDeadTimeConfig.Break2Polarity = TIM_BREAK2POLARITY_HIGH;
  sBreakDeadTimeConfig.Break2Filter = 0;
  sBreakDeadTimeConfig.AutomaticOutput = TIM_AUTOMATICOUTPUT_DISABLE;
  if (HAL_TIMEx_ConfigBreakDeadTime(&htim1, &sBreakDeadTimeConfig) != HAL_OK)
  {
    Error_Handler();
  }
  HAL_TIM_MspPostInit(&htim1);
}

static void MX_TIM7_Init(void)
{

  TIM_MasterConfigTypeDef sMasterConfig = {0};

  htim7.Instance = TIM7;
  htim7.Init.Prescaler = 0;
  htim7.Init.CounterMode = TIM_COUNTERMODE_UP;
  htim7.Init.Period = 1600;
  htim7.Init.AutoReloadPreload = TIM_AUTORELOAD_PRELOAD_DISABLE;
  if (HAL_TIM_Base_Init(&htim7) != HAL_OK)
  {
    Error_Handler();
  }
  sMasterConfig.MasterOutputTrigger = TIM_TRGO_RESET;
  sMasterConfig.MasterSlaveMode = TIM_MASTERSLAVEMODE_DISABLE;
  if (HAL_TIMEx_MasterConfigSynchronization(&htim7, &sMasterConfig) != HAL_OK)
  {
    Error_Handler();
  }
}

static void MX_TIM15_Init(void)
{

  TIM_ClockConfigTypeDef sClockSourceConfig = {0};
  TIM_MasterConfigTypeDef sMasterConfig = {0};
  TIM_OC_InitTypeDef sConfigOC = {0};
  TIM_BreakDeadTimeConfigTypeDef sBreakDeadTimeConfig = {0};

  htim15.Instance = TIM15;
  htim15.Init.Prescaler = 16 - 1;
  htim15.Init.CounterMode = TIM_COUNTERMODE_UP;
  htim15.Init.Period = 100 - 1;
  htim15.Init.ClockDivision = TIM_CLOCKDIVISION_DIV1;
  htim15.Init.RepetitionCounter = 0;
  htim15.Init.AutoReloadPreload = TIM_AUTORELOAD_PRELOAD_DISABLE;
  if (HAL_TIM_Base_Init(&htim15) != HAL_OK)
  {
    Error_Handler();
  }
  sClockSourceConfig.ClockSource = TIM_CLOCKSOURCE_INTERNAL;
  if (HAL_TIM_ConfigClockSource(&htim15, &sClockSourceConfig) != HAL_OK)
  {
    Error_Handler();
  }
  if (HAL_TIM_PWM_Init(&htim15) != HAL_OK)
  {
    Error_Handler();
  }
  sMasterConfig.MasterOutputTrigger = TIM_TRGO_RESET;
  sMasterConfig.MasterSlaveMode = TIM_MASTERSLAVEMODE_DISABLE;
  if (HAL_TIMEx_MasterConfigSynchronization(&htim15, &sMasterConfig) != HAL_OK)
  {
    Error_Handler();
  }
  sConfigOC.OCMode = TIM_OCMODE_PWM1;
  sConfigOC.Pulse = 0;
  sConfigOC.OCPolarity = TIM_OCPOLARITY_HIGH;
  sConfigOC.OCNPolarity = TIM_OCNPOLARITY_HIGH;
  sConfigOC.OCFastMode = TIM_OCFAST_DISABLE;
  sConfigOC.OCIdleState = TIM_OCIDLESTATE_RESET;
  sConfigOC.OCNIdleState = TIM_OCNIDLESTATE_RESET;
  if (HAL_TIM_PWM_ConfigChannel(&htim15, &sConfigOC, TIM_CHANNEL_2) != HAL_OK)
  {
    Error_Handler();
  }
  sBreakDeadTimeConfig.OffStateRunMode = TIM_OSSR_DISABLE;
  sBreakDeadTimeConfig.OffStateIDLEMode = TIM_OSSI_DISABLE;
  sBreakDeadTimeConfig.LockLevel = TIM_LOCKLEVEL_OFF;
  sBreakDeadTimeConfig.DeadTime = 0;
  sBreakDeadTimeConfig.BreakState = TIM_BREAK_DISABLE;
  sBreakDeadTimeConfig.BreakPolarity = TIM_BREAKPOLARITY_HIGH;
  sBreakDeadTimeConfig.AutomaticOutput = TIM_AUTOMATICOUTPUT_DISABLE;
  if (HAL_TIMEx_ConfigBreakDeadTime(&htim15, &sBreakDeadTimeConfig) != HAL_OK)
  {
    Error_Handler();
  }
  HAL_TIM_MspPostInit(&htim15);
}

static void MX_USART1_UART_Init(void)
{

  huart1.Instance = USART1;
  huart1.Init.BaudRate = 19200;
  huart1.Init.WordLength = UART_WORDLENGTH_8B;
  huart1.Init.StopBits = UART_STOPBITS_1;
  huart1.Init.Parity = UART_PARITY_NONE;
  huart1.Init.Mode = UART_MODE_TX_RX;
  huart1.Init.HwFlowCtl = UART_HWCONTROL_NONE;
  huart1.Init.OverSampling = UART_OVERSAMPLING_16;
  huart1.Init.OneBitSampling = UART_ONE_BIT_SAMPLE_DISABLE;
  huart1.AdvancedInit.AdvFeatureInit = UART_ADVFEATURE_NO_INIT;
  if (HAL_UART_Init(&huart1) != HAL_OK)
  {
    Error_Handler();
  }
  /* USER CODE BEGIN USART1_Init 2 */
  /* Deinit the peripheral, gets inited by the cells */
  if (HAL_UART_DeInit(&huart1) != HAL_OK)
  {
    Error_Handler();
  }
  /* USER CODE END USART1_Init 2 */
}

static void MX_USART2_UART_Init(void)
{

  huart2.Instance = USART2;
  huart2.Init.BaudRate = 19200;
  huart2.Init.WordLength = UART_WORDLENGTH_8B;
  huart2.Init.StopBits = UART_STOPBITS_1;
  huart2.Init.Parity = UART_PARITY_NONE;
  huart2.Init.Mode = UART_MODE_TX_RX;
  huart2.Init.HwFlowCtl = UART_HWCONTROL_NONE;
  huart2.Init.OverSampling = UART_OVERSAMPLING_16;
  huart2.Init.OneBitSampling = UART_ONE_BIT_SAMPLE_DISABLE;
  huart2.AdvancedInit.AdvFeatureInit = UART_ADVFEATURE_SWAP_INIT;
  huart2.AdvancedInit.Swap = UART_ADVFEATURE_SWAP_ENABLE;
  if (HAL_UART_Init(&huart2) != HAL_OK)
  {
    Error_Handler();
  }
  /* USER CODE BEGIN USART2_Init 2 */
  /* Deinit the peripheral, gets inited by the cells */
  if (HAL_UART_DeInit(&huart2) != HAL_OK)
  {
    Error_Handler();
  }
  /* USER CODE END USART2_Init 2 */
}

static void MX_USART3_UART_Init(void)
{

  huart3.Instance = USART3;
  huart3.Init.BaudRate = 19200;
  huart3.Init.WordLength = UART_WORDLENGTH_8B;
  huart3.Init.StopBits = UART_STOPBITS_1;
  huart3.Init.Parity = UART_PARITY_NONE;
  huart3.Init.Mode = UART_MODE_TX_RX;
  huart3.Init.HwFlowCtl = UART_HWCONTROL_NONE;
  huart3.Init.OverSampling = UART_OVERSAMPLING_16;
  huart3.Init.OneBitSampling = UART_ONE_BIT_SAMPLE_DISABLE;
  huart3.AdvancedInit.AdvFeatureInit = UART_ADVFEATURE_SWAP_INIT;
  huart3.AdvancedInit.Swap = UART_ADVFEATURE_SWAP_ENABLE;
  if (HAL_UART_Init(&huart3) != HAL_OK)
  {
    Error_Handler();
  }
  /* USER CODE BEGIN USART3_Init 2 */
  /* Deinit the peripheral, gets inited by the cells */
  if (HAL_UART_DeInit(&huart3) != HAL_OK)
  {
    Error_Handler();
  }
  /* USER CODE END USART3_Init 2 */
}

static void MX_DMA_Init(void)
{

  /* DMA controller clock enable */
  __HAL_RCC_DMA2_CLK_ENABLE();

  /* DMA interrupt init */
  /* DMA2_Channel4_IRQn interrupt configuration */
  HAL_NVIC_SetPriority(DMA2_Channel4_IRQn, 5, 0);
  HAL_NVIC_EnableIRQ(DMA2_Channel4_IRQn);
}

static void MX_GPIO_Init(void)
{
  GPIO_InitTypeDef GPIO_InitStruct = {0};

  /* GPIO Ports Clock Enable */
  __HAL_RCC_GPIOC_CLK_ENABLE();
  __HAL_RCC_GPIOH_CLK_ENABLE();
  __HAL_RCC_GPIOA_CLK_ENABLE();
  __HAL_RCC_GPIOB_CLK_ENABLE();
  __HAL_RCC_GPIOD_CLK_ENABLE();

  /*Configure GPIO pin Output Level */
  HAL_GPIO_WritePin(GPIOC, CAN_SHDN_Pin | SOLENOID_Pin | GPIO_A_Pin | SOL_DIS_BATT_Pin, GPIO_PIN_RESET);

  /*Configure GPIO pin Output Level */
  HAL_GPIO_WritePin(GPIOA, BATTERY_EN_Pin | BUS_SEL2_Pin | BUS_SEL1_Pin | GPIO_B_Pin, GPIO_PIN_RESET);

  /*Configure GPIO pin Output Level */
  HAL_GPIO_WritePin(GPIOB, LED0_Pin | LED1_Pin | LED2_Pin | LED3_Pin | LED4_Pin | LED5_Pin | LED6_Pin | LED7_Pin | SOL_DIS_CAN_Pin, GPIO_PIN_RESET);

  /*Configure GPIO pins : CAN_EN_Pin CAN_SILENT_Pin VER_DET_1_Pin VER_DET_2_Pin
                           VER_DET_3_Pin */
  GPIO_InitStruct.Pin = CAN_EN_Pin | CAN_SILENT_Pin | VER_DET_1_Pin | VER_DET_2_Pin | VER_DET_3_Pin;
  GPIO_InitStruct.Mode = GPIO_MODE_INPUT;
  GPIO_InitStruct.Pull = GPIO_NOPULL;
  HAL_GPIO_Init(GPIOC, &GPIO_InitStruct);

  /*Configure GPIO pins : CAN_SHDN_Pin SOLENOID_Pin GPIO_A_Pin SOL_DIS_BATT_Pin */
  GPIO_InitStruct.Pin = CAN_SHDN_Pin | SOLENOID_Pin | GPIO_A_Pin | SOL_DIS_BATT_Pin;
  GPIO_InitStruct.Mode = GPIO_MODE_OUTPUT_PP;
  GPIO_InitStruct.Pull = GPIO_NOPULL;
  GPIO_InitStruct.Speed = GPIO_SPEED_FREQ_LOW;
  HAL_GPIO_Init(GPIOC, &GPIO_InitStruct);

  /*Configure GPIO pins : BATTERY_EN_Pin BUS_SEL2_Pin BUS_SEL1_Pin GPIO_B_Pin */
  GPIO_InitStruct.Pin = BATTERY_EN_Pin | BUS_SEL2_Pin | BUS_SEL1_Pin | GPIO_B_Pin;
  GPIO_InitStruct.Mode = GPIO_MODE_OUTPUT_PP;
  GPIO_InitStruct.Pull = GPIO_NOPULL;
  GPIO_InitStruct.Speed = GPIO_SPEED_FREQ_LOW;
  HAL_GPIO_Init(GPIOA, &GPIO_InitStruct);

  /*Configure GPIO pins : VCC_STAT_Pin BUS_STAT_Pin */
  GPIO_InitStruct.Pin = VCC_STAT_Pin | BUS_STAT_Pin;
  GPIO_InitStruct.Mode = GPIO_MODE_INPUT;
  GPIO_InitStruct.Pull = GPIO_PULLUP;
  HAL_GPIO_Init(GPIOA, &GPIO_InitStruct);

  /*Configure GPIO pins : LED0_Pin LED1_Pin LED2_Pin LED3_Pin
                           LED4_Pin LED5_Pin LED6_Pin LED7_Pin
                           SOL_DIS_CAN_Pin */
  GPIO_InitStruct.Pin = LED0_Pin | LED1_Pin | LED2_Pin | LED3_Pin | LED4_Pin | LED5_Pin | LED6_Pin | LED7_Pin | SOL_DIS_CAN_Pin;
  GPIO_InitStruct.Mode = GPIO_MODE_OUTPUT_PP;
  GPIO_InitStruct.Pull = GPIO_NOPULL;
  GPIO_InitStruct.Speed = GPIO_SPEED_FREQ_LOW;
  HAL_GPIO_Init(GPIOB, &GPIO_InitStruct);

  /*Configure GPIO pin : SD_DET_Pin */
  GPIO_InitStruct.Pin = SD_DET_Pin;
  GPIO_InitStruct.Mode = GPIO_MODE_INPUT;
  GPIO_InitStruct.Pull = GPIO_PULLDOWN;
  HAL_GPIO_Init(SD_DET_GPIO_Port, &GPIO_InitStruct);

  /*Configure GPIO pins : ADC1_ALERT_Pin ADC2_ALERT_Pin */
  GPIO_InitStruct.Pin = ADC1_ALERT_Pin | ADC2_ALERT_Pin;
  GPIO_InitStruct.Mode = GPIO_MODE_IT_FALLING;
  GPIO_InitStruct.Pull = GPIO_PULLUP;
  HAL_GPIO_Init(GPIOA, &GPIO_InitStruct);

  /*Configure GPIO pin : SOL_STAT_Pin */
  GPIO_InitStruct.Pin = SOL_STAT_Pin;
  GPIO_InitStruct.Mode = GPIO_MODE_INPUT;
  GPIO_InitStruct.Pull = GPIO_PULLUP;
  HAL_GPIO_Init(SOL_STAT_GPIO_Port, &GPIO_InitStruct);

  /*Configure GPIO pin : PH3 */
  GPIO_InitStruct.Pin = GPIO_PIN_3;
  GPIO_InitStruct.Mode = GPIO_MODE_ANALOG;
  GPIO_InitStruct.Pull = GPIO_NOPULL;
  HAL_GPIO_Init(GPIOH, &GPIO_InitStruct);

}

/* USER CODE BEGIN 4 */
typedef void (*BootloaderJumpFunc_t)(void);
void JumpToBootloader(void)
{
  (void)__enable_irq();
  (void)HAL_RCC_DeInit();
  (void)HAL_DeInit();
  SysTick->VAL = 0;
  SysTick->LOAD = 0;
  SysTick->CTRL = 0;
  (void)__HAL_SYSCFG_REMAPMEMORY_SYSTEMFLASH();

  const uint32_t p = (*((uint32_t *)0x1FFF0000));
  __set_MSP(p);

  /* Embedded crimes to jump into the bootloader*/
  /* 0x1FFF0004 is the start address of the system rom, ST bootloader*/
  /* Ref rm0394 page 75/76 */
  BootloaderJumpFunc_t SysMemBootJump = (void (*)(void))(*((uint32_t *)0x1FFF0004));
  SysMemBootJump();
}
/* USER CODE END 4 */

void WatchdogTask(void *argument)
{
  /* USER CODE BEGIN 5 */
  (void)argument;
  /* Infinite loop */
  for (;;)
  {
    (void)HAL_IWDG_Refresh(&hiwdg);
    (void)osDelay(pdMS_TO_TICKS(100));
  }
  /* USER CODE END 5 */
}

void SDInitTask(void *argument)
{
  /* USER CODE BEGIN SDInitTask */
  (void)argument;
  (void)osDelay(TIMEOUT_1S_TICKS);
  StartLogTask();
  /* So, we've booted up, time to make sure that the bus is actually in an off state and we didn't blip on in the dead of night */
  if (!testBusActive())
  {
    DeInitLog();
    const HW_Version_t HARDWARE_VERSION = get_hardware_version();
    const Configuration_t deviceConfig = loadConfiguration(HARDWARE_VERSION);
    Shutdown(&deviceConfig);
  }
  (void)vTaskDelete(NULL);
  /* USER CODE END SDInitTask */
}

void HAL_TIM_PeriodElapsedCallback(TIM_HandleTypeDef *htim)
{
  /* USER CODE BEGIN Callback 0 */
  (void)htim;
  /* USER CODE END Callback 0 */
  if (htim->Instance == TIM6)
  {
    (void)HAL_IncTick();
  }
}

void Error_Handler(void)
{
  /* USER CODE BEGIN Error_Handler_Debug */
  /* User can add his own implementation to report the HAL error return state */
  NON_FATAL_ERROR(CRITICAL_ERR);
  /* USER CODE END Error_Handler_Debug */
}
#ifdef USE_FULL_ASSERT
/**
 * @brief  Reports the name of the source file and the source line number
 *         where the assert_param error has occurred.
 * @param  file: pointer to the source file name
 * @param  line: assert_param error line source number
 * @retval None
 */
void assert_failed(const uint8_t *file, uint32_t line)
{
  /* USER CODE BEGIN 6 */
  blocking_serial_printf("ASSERT failed %s: %d", file, line);
  FATAL_ERROR(ASSERT_FAIL_FERR);
  /* User can add his own implementation to report the file name and line number,
     ex: printf("Wrong parameters value: file %s on line %d\r\n", file, line) */
  /* USER CODE END 6 */
}
#endif /* USE_FULL_ASSERT */

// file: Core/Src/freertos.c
/* USER CODE BEGIN Header */
/**
 ******************************************************************************
 * File Name          : freertos.c
 * Description        : Code for freertos applications
 ******************************************************************************
 * @attention
 *
 * Copyright (c) 2023 STMicroelectronics.
 * All rights reserved.
 *
 * This software is licensed under terms that can be found in the LICENSE file
 * in the root directory of this software component.
 * If no LICENSE file comes with this software, it is provided AS-IS.
 *
 ******************************************************************************
 */
/* USER CODE END Header */

#include "FreeRTOS.h"
#include "task.h"
#include "main.h"

/* USER CODE BEGIN Includes */
#include "Hardware/printer.h"
#include "errors.h"
#include "common.h"
#include "stm32l4xx_hal_pwr_ex.h"
/* USER CODE END Includes */

/* USER CODE BEGIN PD */
extern TIM_HandleTypeDef htim7;
/* USER CODE END PD */

/* Hook prototypes */
void configureTimerForRunTimeStats(void);
RuntimeCounter_t getRunTimeCounterValue(void);
void vApplicationIdleHook(void);
void vApplicationStackOverflowHook(TaskHandle_t xTask, signed char *pcTaskName);
void vApplicationMallocFailedHook(void);

/* USER CODE BEGIN 1 */
/* Functions needed when configGENERATE_RUN_TIME_STATS is on */
__weak void configureTimerForRunTimeStats(void)
{
  (void)HAL_TIM_Base_Start_IT(&htim7);
}
extern volatile uint32_t ulHighFrequencyTimerTicks;
__weak RuntimeCounter_t getRunTimeCounterValue(void)
{
  return ulHighFrequencyTimerTicks;
}
/* USER CODE END 1 */

/* USER CODE BEGIN 2 */
void vApplicationIdleHook(void)
{
  /* vApplicationIdleHook() will only be called if configUSE_IDLE_HOOK is set
  to 1 in FreeRTOSConfig.h. It will be called on each iteration of the idle
  task. It is essential that code added to this hook function never attempts
  to block in any way (for example, call xQueueReceive() with a block time
  specified, or call vTaskDelay()). If the application makes use of the
  vTaskDelete() API function (as this demo application does) then it is also
  important that vApplicationIdleHook() is permitted to return to its calling
  function, because it is the responsibility of the idle task to clean up
  memory allocated by the kernel to any task that has since been deleted. */
}
/* USER CODE END 2 */

/* USER CODE BEGIN 4 */
void vApplicationStackOverflowHook(TaskHandle_t, signed char *pcTaskName)
{
  volatile signed char *taskName = pcTaskName;
  blocking_serial_printf("STACK OVERFLOW: %s", taskName);
  FATAL_ERROR(STACK_OVERFLOW_FERR);
  /* Run time stack overflow checking is performed if
  configCHECK_FOR_STACK_OVERFLOW is defined to 1 or 2. This hook function is
  called if a stack overflow is detected. */
}
/* USER CODE END 4 */

/* USER CODE BEGIN 5 */
void vApplicationMallocFailedHook(void)
{
  FATAL_ERROR(MALLOC_FAIL_FERR);
  /* vApplicationMallocFailedHook() will only be called if
  configUSE_MALLOC_FAILED_HOOK is set to 1 in FreeRTOSConfig.h. It is a hook
  function that will get called if a call to pvPortMalloc() fails.
  pvPortMalloc() is called internally by the kernel whenever a task, queue,
  timer or semaphore is created. It is also called by various parts of the
  demo application. If heap_1.c or heap_2.c are used, then the size of the
  heap available to pvPortMalloc() is defined by configTOTAL_HEAP_SIZE in
  FreeRTOSConfig.h, and the xPortGetFreeHeapSize() API function can be used
  to query the size of free heap space that remains (although it does not
  provide information on how the remaining heap might be fragmented). */
}
/* USER CODE END 5 */

/* USER CODE BEGIN PREPOSTSLEEP */
__weak void PreSleepProcessing(uint32_t ulExpectedIdleTime)
{
  (void)ulExpectedIdleTime;
  /* place for user code */
  (void)HAL_TIM_Base_Stop_IT(&htim7);
  HAL_NVIC_ClearPendingIRQ(TIM7_IRQn);
  HAL_PWR_EnterSLEEPMode(PWR_MAINREGULATOR_ON, PWR_SLEEPENTRY_WFI);
}

__weak void PostSleepProcessing(uint32_t ulExpectedIdleTime)
{
  (void)ulExpectedIdleTime;
  /* place for user code */
  (void)HAL_TIM_Base_Start_IT(&htim7);
}
/* USER CODE END PREPOSTSLEEP */
